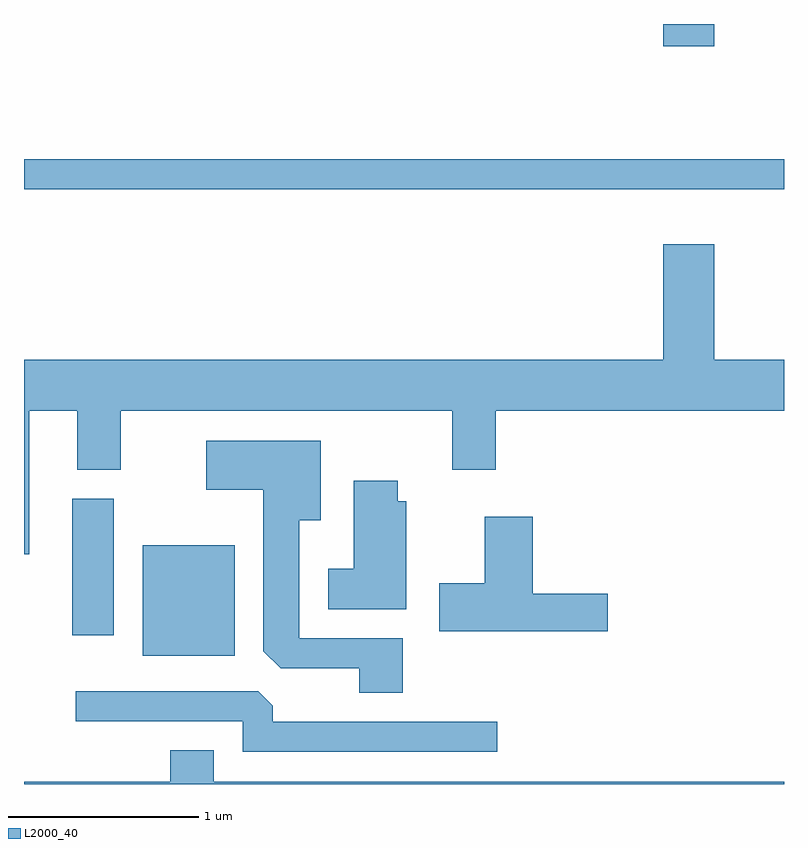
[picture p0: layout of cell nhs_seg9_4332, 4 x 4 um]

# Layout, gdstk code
import gdstk
lib = gdstk.Library(unit=1e-6, precision=1e-09)
def R(c, l, rs):  # rectangles x0, y0, x1, y1
    for r in rs: c.add(gdstk.rectangle(r[:2], r[2:], *l))
def P(c, l, *ps):  # polygons
    for p in ps: c.add(gdstk.Polygon(p, *l))
L2000_40 = (2000, 40)

nhs_seg9_4332 = lib.new_cell('nhs_seg9_4332')
R(nhs_seg9_4332, L2000_40, [(312.236,2077.106,312.719,2077.689), (311.866,2077.216,312.084,2077.934), (311.611,2079.561,315.611,2079.719), (314.976,2080.316,315.244,2080.432)])
P(nhs_seg9_4332, L2000_40, [(311.639,2078.396),(311.891,2078.396),(311.891,2078.086),(312.119,2078.086),(312.119,2078.396),(313.866,2078.396),(313.866,2078.086),(314.094,2078.086),(314.094,2078.396),(315.611,2078.396),(315.611,2078.664),(315.244,2078.664),(315.244,2079.274),(314.976,2079.274),(314.976,2078.664),(311.611,2078.664),(311.611,2077.641),(311.639,2077.641)],
  [(313.604,2077.199),(313.059,2077.199),(313.059,2077.821),(313.174,2077.821),(313.174,2078.239),(312.571,2078.239),(312.571,2077.981),(312.871,2077.981),(312.871,2077.132),(312.962,2077.041),(313.376,2077.041),(313.376,2076.911),(313.604,2076.911)],
  [(313.624,2077.919),(313.579,2077.919),(313.579,2078.029),(313.346,2078.029),(313.346,2077.564),(313.211,2077.564),(313.211,2077.351),(313.624,2077.351)],
  [(314.684,2077.434),(314.289,2077.434),(314.289,2077.839),(314.036,2077.839),(314.036,2077.489),(313.796,2077.489),(313.796,2077.236),(314.684,2077.236)],
  [(314.103,2076.759),(312.919,2076.759),(312.919,2076.844),(312.844,2076.919),(311.883,2076.919),(311.883,2076.761),(312.761,2076.761),(312.761,2076.601),(314.103,2076.601)],
  [(315.611,2076.444),(312.609,2076.444),(312.609,2076.609),(312.381,2076.609),(312.381,2076.444),(311.611,2076.444),(311.611,2076.432),(315.611,2076.432)])

lib.write_gds('nhs_seg9_4332.gds')
